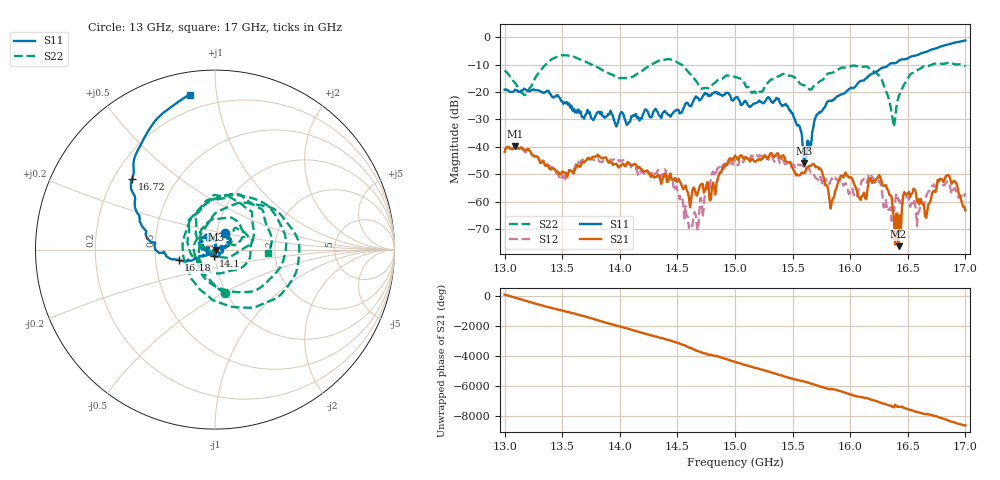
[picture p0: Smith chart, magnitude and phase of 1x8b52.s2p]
!Keysight Technologies,P9374A,MY57211807,A.19.30.04
!Date: Friday, May 08, 2026 14:29:19
!Correction: S11(C  2-Port  )
!S21(C  2-Port  )
!S12(C  2-Port  )
!S22(C  2-Port  )
!S2P File: Measurements: S11, S21, S12, S22:
# Hz S  dB  R 50
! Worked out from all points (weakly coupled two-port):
!   401 points, 13 GHz to 17 GHz, reference 50 ohm
!   highest |S21| = -39.71 dB at 13.09 GHz (marker M1); lowest = -76.2 dB at 16.42 GHz (marker M2)
!   lowest |S11| = -46.0 dB at 15.6 GHz (marker M3), VSWR 1.01, Z = 50.5 - j0.0026 ohm
!   |S11| at or under -10 dB: start of sweep to 16.34 GHz
!   |S22| runs from -32.7 to -6.6 dB; largest |S21 - S12| = 0.0021
!   S11 on the Smith chart (normalised r, x): 13 GHz: 1.10, +0.21; 14.1 GHz: 0.98, -0.07; 16.18 GHz: 0.66, -0.08; 16.72 GHz: 0.28, +0.34; 17 GHz: 0.12, +0.84
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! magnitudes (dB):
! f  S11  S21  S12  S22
! 13 GHz  -19.1  -41.8  -41.2  -12.1
! 13.09 GHz  -19.1  -39.7  -39.8  -16.6
! 13.49 GHz  -23.2  -50.1  -52.1  -6.6
! 13.67 GHz  -28.9  -46.0  -44.7  -8.2
! 14.1 GHz  -28.8  -46.8  -47.7  -14.6
! 14.34 GHz  -28.5  -50.5  -48.5  -8.5
! 14.62 GHz  -25.2  -58.9  -68.6  -13.8
! 14.81 GHz  -20.5  -53.1  -49.0  -17.1
! 15 GHz  -22.0  -43.2  -44.5  -14.5
! 15.44 GHz  -24.3  -45.2  -46.3  -13.8
! 15.6 GHz  -46.0  -49.6  -47.2  -17.5
! 15.67 GHz  -34.8  -46.4  -49.4  -18.7
! 15.84 GHz  -23.3  -60.0  -51.5  -13.0
! 15.94 GHz  -20.7  -51.1  -54.2  -11.0
! 16.18 GHz  -13.5  -51.8  -49.8  -11.9
! 16.34 GHz  -9.9  -57.5  -62.9  -23.4
! 16.42 GHz  -8.6  -76.2  -59.6  -21.7
! 16.48 GHz  -8.0  -57.2  -57.3  -16.5
! 16.59 GHz  -6.3  -59.0  -63.9  -11.8
! 16.72 GHz  -4.3  -56.3  -54.3  -9.8
! 16.85 GHz  -2.6  -50.3  -52.5  -9.3
! 17 GHz  -1.2  -63.2  -56.9  -10.5
